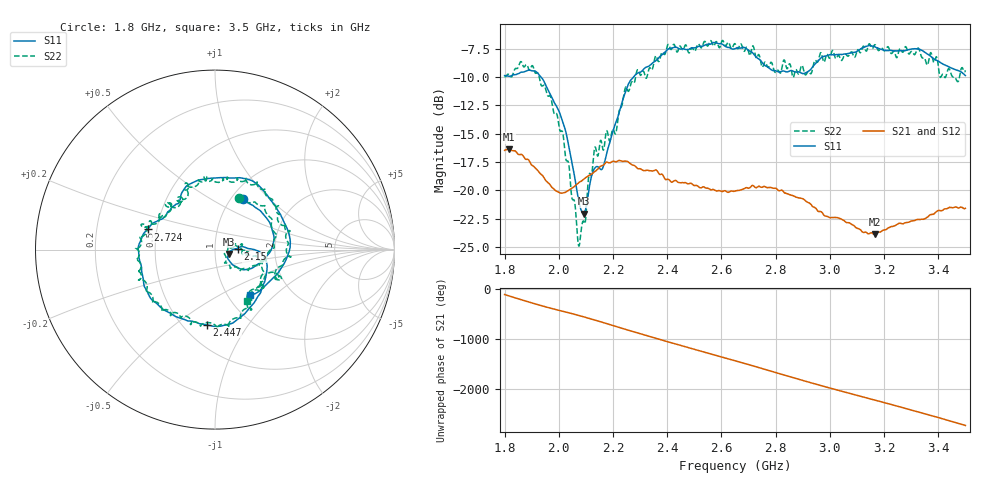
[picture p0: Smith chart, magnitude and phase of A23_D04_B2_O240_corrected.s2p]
! Created with skrf 1.9.0 (http://scikit-rf.org).
# Hz S RI R 50.0
!freq ReS11 ImS11 ReS21 ImS21 ReS12 ImS12 ReS22 ImS22
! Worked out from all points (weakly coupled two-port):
!   1601 points, 1.8 GHz to 3.5 GHz, reference 50 ohm
!   highest |S21| = -16.36 dB at 1.816 GHz (marker M1); lowest = -23.9 dB at 3.165 GHz (marker M2)
!   lowest |S11| = -22.1 dB at 2.092 GHz (marker M3), VSWR 1.17, Z = 58.1 - j2.8 ohm
!   |S11| at or under -10 dB: 1.935 GHz to 2.275 GHz (340.8 MHz wide, 16.2 % of centre)
!   |S22| runs from -24.9 to -6.8 dB; largest |S21 - S12| = 0.0025
!   S11 on the Smith chart (normalised r, x): 1.8 GHz: 1.13, +0.71; 2.15 GHz: 1.29, +0.00; 2.447 GHz: 0.65, -0.66; 2.724 GHz: 0.44, +0.12; 3.5 GHz: 1.26, -0.72
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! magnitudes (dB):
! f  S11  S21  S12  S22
! 1.8 GHz  -9.9  -16.5  -16.5  -9.9
! 1.816 GHz  -9.9  -16.4  -16.4  -9.8
! 1.903 GHz  -9.4  -17.8  -17.8  -9.0
! 1.968 GHz  -11.5  -19.5  -19.6  -11.7
! 2.023 GHz  -14.6  -20.2  -20.2  -16.8
! 2.071 GHz  -20.6  -19.4  -19.4  -24.6
! 2.084 GHz  -21.8  -19.2  -19.1  -23.2
! 2.092 GHz  -22.1  -19.0  -19.0  -22.8
! 2.129 GHz  -18.2  -18.4  -18.4  -16.7
! 2.15 GHz  -18.0  -18.0  -18.0  -16.1
! 2.209 GHz  -14.1  -17.5  -17.4  -15.0
! 2.26 GHz  -10.5  -17.6  -17.6  -11.1
! 2.367 GHz  -8.3  -18.5  -18.4  -8.6
! 2.447 GHz  -7.5  -19.3  -19.3  -7.2
! 2.65 GHz  -7.5  -20.1  -20.0  -7.0
! 2.724 GHz  -8.1  -19.7  -19.7  -8.0
! 2.802 GHz  -9.4  -19.8  -19.9  -9.5
! 2.934 GHz  -9.2  -21.4  -21.3  -9.5
! 3.165 GHz  -7.3  -23.9  -23.8  -7.1
! 3.217 GHz  -7.7  -23.3  -23.2  -7.4
! 3.414 GHz  -8.8  -21.8  -21.7  -9.8
! 3.5 GHz  -9.9  -21.6  -21.6  -9.4
